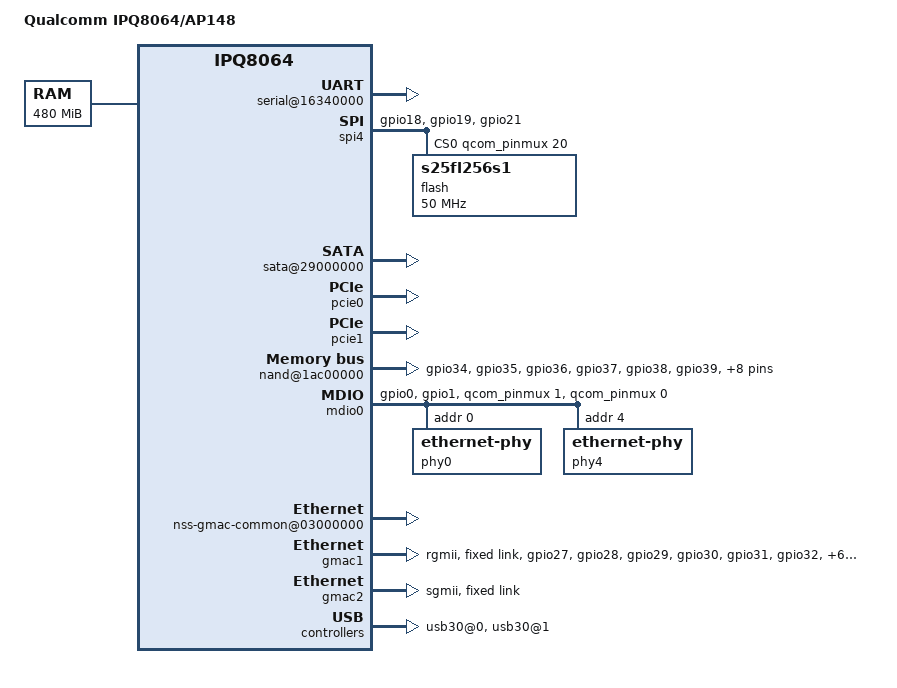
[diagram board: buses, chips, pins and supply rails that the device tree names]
#include "qcom-ipq8064-v1.0.dtsi"

/ {
	model = "Qualcomm IPQ8064/AP148";
	compatible = "qcom,ipq8064-ap148", "qcom,ipq8064";

	aliases {
		serial0 = &uart4;
		dio-gpio0 = &mdio0;
	};

	chosen {
		stdout-path = "serial0:115200n8";
	};

	memory@0 {
		reg = <0x42000000 0x1e000000>;
		device_type = "memory";
	};

	reserved-memory {
		#address-cells = <1>;
		#size-cells = <1>;
		ranges;
		rsvd@41200000 {
			reg = <0x41200000 0x300000>;
			no-map;
		};
	};

	soc {
		pinmux@800000 {
			i2c4_pins: i2c4_pinmux {
				pins = "gpio12", "gpio13";
				function = "gsbi4";
				bias-disable;
			};

			spi_pins: spi_pins {
				mux {
					pins = "gpio18", "gpio19", "gpio21";
					function = "gsbi5";
					drive-strength = <10>;
					bias-none;
				};
			};
			nand_pins: nand_pins {
				mux {
					pins = "gpio34", "gpio35", "gpio36",
					       "gpio37", "gpio38", "gpio39",
					       "gpio40", "gpio41", "gpio42",
					       "gpio43", "gpio44", "gpio45",
					       "gpio46", "gpio47";
					function = "nand";
					drive-strength = <10>;
					bias-disable;
				};
				pullups {
					pins = "gpio39";
					bias-pull-up;
				};
				hold {
					pins = "gpio40", "gpio41", "gpio42",
					       "gpio43", "gpio44", "gpio45",
					       "gpio46", "gpio47";
					bias-bus-hold;
				};
			};

			mdio0_pins: mdio0_pins {
				mux {
					pins = "gpio0", "gpio1";
					function = "gpio";
					drive-strength = <8>;
					bias-disable;
				};
			};

			rgmii2_pins: rgmii2_pins {
				mux {
					pins = "gpio27", "gpio28", "gpio29", "gpio30", "gpio31", "gpio32",
					       "gpio51", "gpio52", "gpio59", "gpio60", "gpio61", "gpio62" ;
					function = "rgmii2";
					drive-strength = <8>;
					bias-disable;
				};
			};
		};

		gsbi@16300000 {
			qcom,mode = <GSBI_PROT_I2C_UART>;
			status = "ok";
			serial@16340000 {
				status = "ok";
			};
			/*
			 * The i2c device on gsbi4 should not be enabled.
			 * On ipq806x designs gsbi4 i2c is meant for exclusive
			 * RPM usage. Turning this on in kernel manifests as
			 * i2c failure for the RPM.
			 */
		};

		gsbi5: gsbi@1a200000 {
			qcom,mode = <GSBI_PROT_SPI>;
			status = "ok";

			spi4: spi@1a280000 {
				status = "ok";
				spi-max-frequency = <50000000>;

				pinctrl-0 = <&spi_pins>;
				pinctrl-names = "default";

				cs-gpios = <&qcom_pinmux 20 0>;

				flash: m25p80@0 {
					compatible = "s25fl256s1";
					#address-cells = <1>;
					#size-cells = <1>;
					spi-max-frequency = <50000000>;
					reg = <0>;

					m25p,fast-read;
				};
			};
		};

		sata-phy@1b400000 {
			status = "ok";
		};

		sata@29000000 {
			status = "ok";
		};

		pcie0: pci@1b500000 {
			status = "ok";
			phy-tx0-term-offset = <7>;
		};

		pcie1: pci@1b700000 {
			status = "ok";
			phy-tx0-term-offset = <7>;
		};

		nand@1ac00000 {
			status = "ok";

			pinctrl-0 = <&nand_pins>;
			pinctrl-names = "default";

			nand-ecc-strength = <4>;
			nand-bus-width = <8>;
		};

		mdio0: mdio {
			compatible = "virtual,mdio-gpio";
			#address-cells = <1>;
			#size-cells = <0>;
			gpios = <&qcom_pinmux 1 0 &qcom_pinmux 0 0>;
			pinctrl-0 = <&mdio0_pins>;
			pinctrl-names = "default";

			phy0: ethernet-phy@0 {
				device_type = "ethernet-phy";
				reg = <0>;
				qca,ar8327-initvals = <
					0x00004 0x7600000   /* PAD0_MODE */
					0x00008 0x1000000   /* PAD5_MODE */
					0x0000c 0x80        /* PAD6_MODE */
					0x000e4 0xaa545     /* MAC_POWER_SEL */
					0x000e0 0xc74164de  /* SGMII_CTRL */
					0x0007c 0x4e        /* PORT0_STATUS */
					0x00094 0x4e        /* PORT6_STATUS */
					>;
			};

			phy4: ethernet-phy@4 {
				device_type = "ethernet-phy";
				reg = <4>;
			};
		};

		nss0: nss@40000000 {
			compatible = "qcom,nss0";
				interrupts = <GIC_SPI 213 IRQ_TYPE_LEVEL_HIGH
				      GIC_SPI 232 IRQ_TYPE_LEVEL_HIGH>;
			reg = <0x36000000 0x1000 0x39000000 0x10000>;
			reg-names = "nphys", "vphys";
			clocks = <&gcc NSS_CORE_CLK>, <&gcc NSSTCM_CLK_SRC>,
				 <&gcc NSSTCM_CLK>, <&nss_fabric0_clk>,
				 <&nss_fabric1_clk>;
			clock-names = "nss_core_clk", "nss_tcm_src",
				      "nss_tcm_clk", "nss-fab0-clk",
				      "nss-fab1-clk";
			resets = <&gcc UBI32_CORE1_CLKRST_CLAMP_RESET>,
				 <&gcc UBI32_CORE1_CLAMP_RESET>,
				 <&gcc UBI32_CORE1_AHB_RESET>,
				 <&gcc UBI32_CORE1_AXI_RESET>;
			reset-names = "clkrst_clamp", "clamp", "ahb", "axi";
			qcom,id = <0>;
			qcom,num_irq = <2>;
			qcom,rst_addr = <0x40000000>;
			qcom,load_addr = <0x40000000>;
			qcom,turbo_frequency = <1>;
			qcom,ipv4_enabled = <1>;
			qcom,ipv6_enabled = <1>;
			qcom,l2switch_enabled = <1>;
			qcom,crypto_enabled = <0>;
			qcom,ipsec_enabled = <0>;
			qcom,wlanredirect_enabled = <1>;
			qcom,tun6rd_enabled = <1>;
			qcom,l2tpv2_enabled = <1>;
			qcom,portid_enabled = <1>;
			qcom,pptp_enabled = <1>;
			qcom,tunipip6_enabled = <1>;
			qcom,shaping_enabled = <1>;
			qcom,gmac0_enabled = <0>;
			qcom,gmac1_enabled = <1>;
			qcom,gmac2_enabled = <1>;
			qcom,gmac3_enabled = <0>;
			qcom,wlan_dataplane_offload_enabled = <1>;
		};

		nss1: nss@40800000 {
			compatible = "qcom,nss1";
			interrupts = <GIC_SPI 214 IRQ_TYPE_LEVEL_HIGH
				      GIC_SPI 233 IRQ_TYPE_LEVEL_HIGH>;
			reg = <0x36400000 0x1000 0x39010000 0x10000>;
			reg-names = "nphys", "vphys";
			resets = <&gcc UBI32_CORE2_CLKRST_CLAMP_RESET>,
				 <&gcc UBI32_CORE2_CLAMP_RESET>,
				 <&gcc UBI32_CORE2_AHB_RESET>,
				 <&gcc UBI32_CORE2_AXI_RESET>;
			reset-names = "clkrst_clamp", "clamp", "ahb", "axi";
			qcom,id = <1>;
			qcom,num_irq = <2>;
			qcom,rst_addr = <0x40800000>;
			qcom,load_addr = <0x40800000>;
			qcom,turbo_frequency = <1>;
			qcom,ipv4_enabled = <0>;
			qcom,ipv6_enabled = <0>;
			qcom,l2switch_enabled = <0>;
			qcom,crypto_enabled = <1>;
			qcom,ipsec_enabled = <1>;
			qcom,wlanredirect_enabled = <0>;
			qcom,tun6rd_enabled = <0>;
			qcom,l2tpv2_enabled = <0>;
			qcom,pptp_enabled = <0>;
			qcom,portid_enabled = <0>;
			qcom,tunipip6_enabled = <0>;
			qcom,shaping_enabled = <0>;
			qcom,gmac0_enabled = <0>;
			qcom,gmac1_enabled = <0>;
			qcom,gmac2_enabled = <0>;
			qcom,gmac3_enabled = <0>;
			qcom,wlan_dataplane_offload_enabled = <0>;
		};

		nss-gmac-common@03000000 {
			compatible = "qcom,nss-gmac-common";
			reg = <0x03000000 0x0000FFFF 0x1bb00000 0x0000FFFF
			       0x00900000 0x00004000>;
			reg-names = "nss_reg_base" , "qsgmii_reg_base",
				    "clk_ctl_base";
		};

		gmac1: ethernet@37200000 {
			status = "ok";
			device_type = "network";
			compatible = "qcom,nss-gmac";
			reg = <0x37200000 0x200000>;
			interrupts = <GIC_SPI 223 IRQ_TYPE_LEVEL_HIGH>;
			phy-mode = "rgmii";
			qcom,id = <1>;
			qcom,pcs-chanid = <0>;
			qcom,phy-mdio-addr = <4>;
			qcom,poll-required = <1>;
			qcom,rgmii-delay = <1>;
			qcom,emulation = <0>;
			qcom,forced-speed = <1000>;
			qcom,forced-duplex = <1>;
			qcom,socver = <0>;
			local-mac-address = [000000000000];
			mdiobus = <&mdio0>;

			pinctrl-0 = <&rgmii2_pins>;
			pinctrl-names = "default";

			fixed-link {
				speed = <1000>;
				full-duplex;
			};
		};

		gmac2: ethernet@37400000 {
			status = "ok";
			device_type = "network";
			compatible = "qcom,nss-gmac";
			reg = <0x37400000 0x200000>;
			interrupts = <GIC_SPI 226 IRQ_TYPE_LEVEL_HIGH>;
			phy-mode = "sgmii";
			qcom,id = <2>;
			qcom,pcs-chanid = <1>;
			qcom,phy-mdio-addr = <0>;
			qcom,poll-required = <0>;
			qcom,rgmii-delay = <0>;
			qcom,forced-speed = <1000>;
			qcom,forced-duplex = <1>;
			qcom,socver = <0>;
			local-mac-address = [000000000000];
			mdiobus = <&mdio0>;

			fixed-link {
				speed = <1000>;
				full-duplex;
			};
		};

		phy@100f8800 {
			status = "ok";
		};

		phy@100f8830 {
			status = "ok";
		};

		usb30@0 {
			status = "ok";
		};

		phy@110f8800 {
			status = "ok";
		};

		phy@110f8830 {
			status = "ok";
		};

		usb30@1 {
			status = "ok";
		};
	};
};

&adm_dma {
	status = "ok";
};
